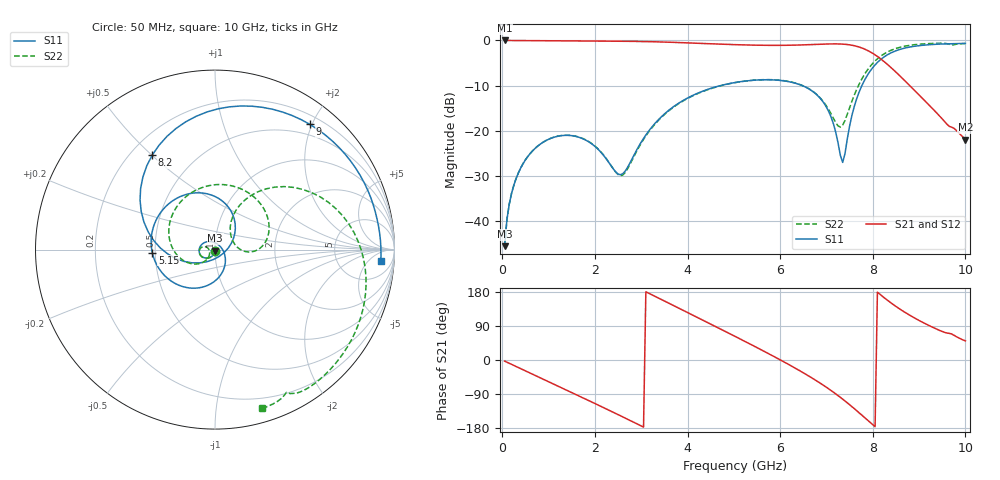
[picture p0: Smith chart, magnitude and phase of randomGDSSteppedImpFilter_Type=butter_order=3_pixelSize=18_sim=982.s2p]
! freq	dB(S11)	phase(S11)	dB(S12)	phase(S12)
!  dB(S21)	phase(S21)	dB(S22)	phase(S22)
!S-par simulation data
#  GHz  S  DB  R 50
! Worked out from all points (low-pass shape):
!   200 points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, 50 MHz to 10 GHz, reference 50 ohm
!   highest |S21| = -0.01 dB at 50 MHz (marker M1); lowest = -22.0 dB at 10 GHz (marker M2)
!   |S21| within 3 dB of the highest: start of sweep to 8.022 GHz
!   lowest |S11| = -45.5 dB at 50 MHz (marker M3), VSWR 1.01, Z = 50 - j0.527 ohm
!   |S11| at or under -10 dB: start of sweep to 4.713 GHz; 6.476 GHz to 7.766 GHz (1.289 GHz wide, 18.1 % of centre)
!   |S22| runs from -45.5 to -0.6 dB; largest |S21 - S12| = 0
!   S11 on the Smith chart (normalised r, x): 50 MHz: 1.00, -0.01; 5.15 GHz: 0.48, -0.02; 8.2 GHz: 0.29, +0.50; 9 GHz: 0.33, +1.97; 10 GHz: 14, -13
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0.05  -45.54 -84.5  -0.01 -2.9  -0.01 -2.9  -45.53 -84.4
0.2  -33.87 -100.5  -0.02 -11.5  -0.02 -11.5  -33.86 -100.2
0.55  -25.71 -122.5  -0.05 -31.6  -0.05 -31.6  -25.70 -121.7
1.15  -21.33 -158.4  -0.11 -65.9  -0.11 -65.9  -21.31 -155.2
1.75  -21.81 162.3  -0.15 -100.3  -0.15 -100.3  -21.76 174.7
2.55  -29.73 49.2  -0.18 -147.1  -0.18 -147.1  -29.93 -167.4
3.4  -17.25 -74.2  -0.33 161.8  -0.33 161.8  -17.39 -143.5
4.25  -11.55 -127.0  -0.64 110.0  -0.64 110.0  -11.63 166.1
5.05  -9.28 -171.7  -0.95 60.9  -0.95 60.9  -9.30 112.8
5.15  -9.12 -177.3  -0.98 54.7  -0.98 54.7  -9.13 106.0
5.95  -8.81 135.3  -1.10 3.8  -1.10 3.8  -8.77 52.3
6.7  -11.26 81.3  -0.92 -48.4  -0.92 -48.4  -11.23 6.3
7.1  -16.97 39.0  -0.78 -80.5  -0.78 -80.5  -16.26 -2.2
7.35  -27.00 -58.3  -0.82 -103.2  -0.82 -103.2  -18.74 39.2
7.7  -11.57 -174.6  -1.44 -138.7  -1.44 -138.7  -9.79 58.9
7.95  -6.69 152.6  -2.57 -165.4  -2.57 -165.4  -5.67 42.4
8.2  -3.99 123.6  -4.32 168.9  -4.32 168.9  -3.27 22.4
8.35  -2.99 107.8  -5.61 154.6  -5.61 154.6  -2.39 10.8
8.65  -1.80 79.9  -8.49 129.2  -8.49 129.2  -1.36 -10.2
9  -1.16 52.9  -12.07 104.3  -12.07 104.3  -0.85 -30.8
9.45  -0.81 24.3  -16.81 77.7  -16.81 77.7  -0.63 -53.0
10  -0.67 -3.9  -21.96 50.3  -21.96 50.3  -0.69 -73.5
